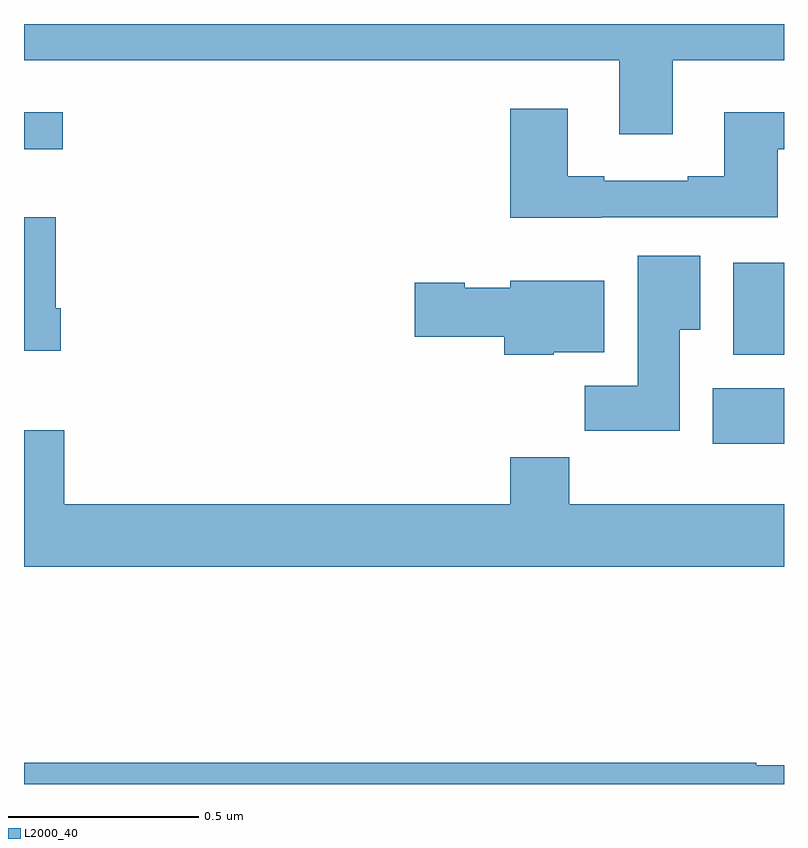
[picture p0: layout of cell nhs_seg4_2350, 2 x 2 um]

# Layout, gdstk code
import gdstk
lib = gdstk.Library(unit=1e-6, precision=1e-09)
def R(c, l, rs):  # rectangles x0, y0, x1, y1
    for r in rs: c.add(gdstk.rectangle(r[:2], r[2:], *l))
def P(c, l, *ps):  # polygons
    for p in ps: c.add(gdstk.Polygon(p, *l))
L2000_40 = (2000, 40)

nhs_seg4_2350 = lib.new_cell('nhs_seg4_2350')
R(nhs_seg4_2350, L2000_40, [(140.813,811.796,141,811.942), (140.867,812.03,141,812.272), (139,812.571,139.102,812.668)])
P(nhs_seg4_2350, L2000_40, [(140.707,812.804),(141,812.804),(141,812.9),(139,812.9),(139,812.804),(140.567,812.804),(140.567,812.61),(140.707,812.61)],
  [(140.519,812.391),(140.983,812.391),(140.983,812.571),(141,812.571),(141,812.668),(140.843,812.668),(140.843,812.5),(140.747,812.5),(140.747,812.487),(140.527,812.487),(140.527,812.5),(140.431,812.5),(140.431,812.677),(140.279,812.677),(140.279,812.39),(140.519,812.39)],
  [(139.097,812.152),(139.084,812.152),(139.084,812.392),(139,812.392),(139,812.04),(139.097,812.04)],
  [(140.725,812.096),(140.779,812.096),(140.779,812.29),(140.615,812.29),(140.615,811.948),(140.476,811.948),(140.476,811.83),(140.725,811.83)],
  [(140.394,812.036),(140.527,812.036),(140.527,812.224),(140.28,812.224),(140.28,812.206),(140.16,812.206),(140.16,812.219),(140.028,812.219),(140.028,812.077),(140.264,812.077),(140.264,812.03),(140.394,812.03)],
  [(141,811.636),(140.435,811.636),(140.435,811.76),(140.279,811.76),(140.279,811.636),(139.106,811.636),(139.106,811.831),(139,811.831),(139,811.472),(141,811.472)],
  [(141,810.949),(140.927,810.949),(140.927,810.956),(139,810.956),(139,810.9),(141,810.9)])

lib.write_gds('nhs_seg4_2350.gds')
